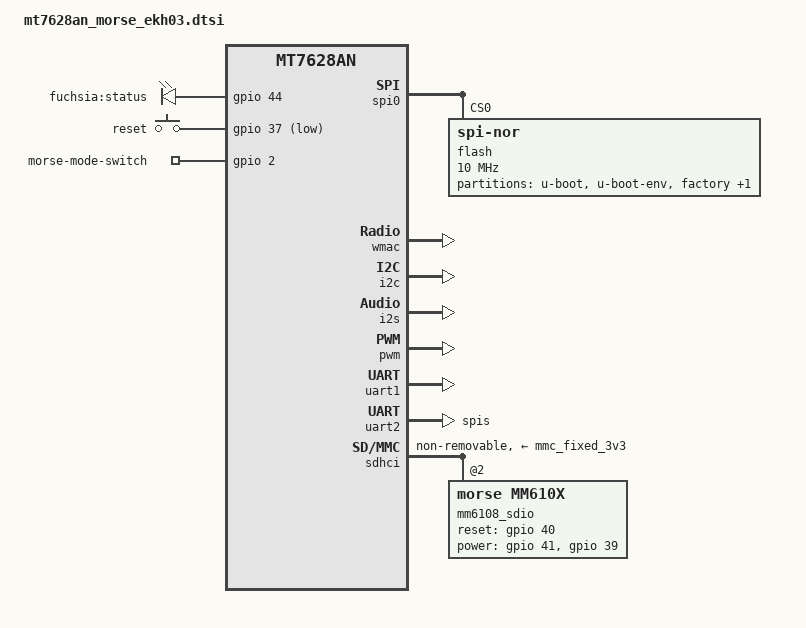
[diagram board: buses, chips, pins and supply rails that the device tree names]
#include "mt7628an.dtsi"

#include <dt-bindings/gpio/gpio.h>
#include <dt-bindings/input/input.h>

/ {
	reserved-memory {
		#address-cells = <1>;
		#size-cells = <1>;
		ranges;

        /* 1 MB reserved for ramoops/pstore */
        ramoops@7EFFFFF {
			compatible = "ramoops";
			reg = <0x7EFFFFF 0x100000>;
			record-size = <0x4000>;
			console-size = <0x4000>;
        };
	};
	aliases {
		led-boot = &led_status;
		led-failsafe = &led_status;
		led-running = &led_status;
		led-upgrade = &led_status;
		label-mac-device = &wmac;
	};

	leds {
		compatible = "gpio-leds";

		led_status: status {
			label = "fuchsia:status";
			gpios = <&gpio 44 GPIO_ACTIVE_HIGH>;
		};
	};

	keys {
		compatible = "gpio-keys";

		reset {
			label = "reset";
			gpios = <&gpio 37 GPIO_ACTIVE_LOW>;
			linux,code = <KEY_RESTART>;
		};
	};

	gpio-export {
		compatible = "gpio-export";
		#size-cells = <0>;

		gpio2 {
			// J4 header attached to I2S_WS gpio2.
			// High value means STA, low AP.
			gpio-export,name = "morse-mode-switch";
			gpios = <&gpio 2 GPIO_ACTIVE_HIGH>;
		};
	};

	chosen {
		bootargs = "console=ttyUSB0,115200 console=ttyS2,115200";
	};
};

&spi0 {
	status = "okay";

	flash@0 {
		compatible = "jedec,spi-nor";
		reg = <0>;
		spi-max-frequency = <10000000>;

		partitions {
			compatible = "fixed-partitions";
			#address-cells = <1>;
			#size-cells = <1>;

			partition@0 {
				label = "u-boot";
				reg = <0x0 0x30000>;
				read-only;
			};

			partition@30000 {
				label = "u-boot-env";
				reg = <0x30000 0x10000>;
			};

			factory: partition@40000 {
				label = "factory";
				reg = <0x40000 0x10000>;
				read-only;
			};

			firmware: partition@50000 {
				compatible = "denx,uimage";
				label = "firmware";
				/* reg property is set based on flash size in DTS files */
			};
		};
	};
};

&pinctrl {
	spis_pins: spis{
		spis{
			groups = "spis";
			function = "pwm_uart2";
		};
	};
};

&state_default {
	gpio {
		groups = "wled_an", "refclk", "wdt", "p2led_an", "p3led_an", "p4led_an";
		function = "gpio";
	};
};

&wmac {
	status = "okay";

	mediatek,mtd-eeprom = <&factory 0x0>;
};

&ethernet {
	nvmem-cells = <&macaddr_factory_28>;
	nvmem-cell-names = "mac-address";
};

&esw {
	mediatek,portmap = <0x7>;
	mediatek,portdisable = <0x3a>;
};

&i2c {
	status = "okay";
};

&i2s {
	status = "okay";
};

&gdma {
	status = "okay";
};

&gpio {
	/* These are taken from the 'Normal Mode' of the GPIO pin shares,
	 * except that the GPIOs connect to the Morse chip are labelled
	 * (MM_RESET/MM_BUSY/MM_WAKE).
	 */
	gpio-line-names =
		"I2S_SDI", "I2S_SDO", "I2S_WS", "I2S_CLK", "I2C_SCLK", "I2C_SD",
		"SPI_CS1", "SPI_CLK", "SPI_MOSI", "SPI_MISO", "SPI_CS0",
		"", "UART_TXD0", "UART_RXD0",
		"MDI_TP_P1", "MDI_TN_P1", "MDI_RP_P1", "MDI_RN_P1",
		"MDI_RP_P2", "MDI_RN_P2", "MDI_TP_P2", "MDI_TN_P2",
		"MDI_TP_P3", "MDI_TN_P3", "MDI_RP_P3", "MDI_RN_P3", "MDI_RP_P4", "MDI_RN_P4", "MDI_TP_P4", "MDI_TN_P4",
		"", "", "", "", "", "",
		"PERST_N", "REF_CLKO", "WDT_RST_N",
		"MM_BUSY", "MM_RESET", "MM_WAKE",
		"EPHY_LED1_N_JTDI", "EPHY_LED0_N_JTDO",
		"WLED_N", "UART_TXD1", "UART_RXD1",
		/* GPIO47 -> GPIO63 - unused, but need to be specified to avoid kernel complaints */
		"", "", "", "", "", "", "", "", "", "", "", "", "", "", "", "", "",
		/* GPIO64 -> GPIO95 - unused, but need to be specified to avoid kernel complaints */
		"", "", "", "", "", "", "", "", "", "", "", "", "", "", "", "", "", "", "", "", "", "", "", "", "", "", "", "", "", "", "", ""
		;

	status = "okay";
};

&pwm {
	status = "okay";
};

&uart1 {
	status = "okay";
};

&uart2 {
	pinctrl-0 = <&spis_pins>;
	status = "okay";
};

&factory {
	compatible = "nvmem-cells";
	#address-cells = <1>;
	#size-cells = <1>;

	macaddr_factory_28: macaddr@28 {
		reg = <0x28 0x6>;
	};
};

&sdhci {
	status = "okay";

	cap-sd-highspeed;
	cap-mmc-highspeed;
	vmmc-supply = <&mmc_fixed_3v3>;
	vqmmc-supply = <&mmc_fixed_3v3>;
	cap-sdio-irq;
	non-removable;
	disable-wp;

	mm6108_sdio: mm6108_sdio@0 {
			compatible = "morse,mm610x";
			reset-gpios = <&gpio 40 0>;
			power-gpios = <&gpio 41 0>,
			              <&gpio 39 0>;
			status = "okay";
			reg = <2>;
			bus-width = <4>;
	};
};
